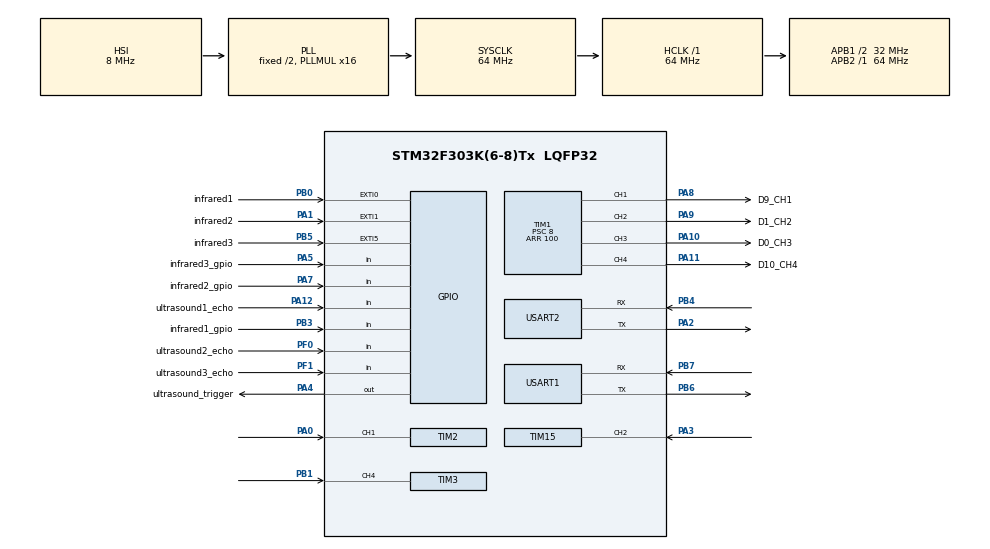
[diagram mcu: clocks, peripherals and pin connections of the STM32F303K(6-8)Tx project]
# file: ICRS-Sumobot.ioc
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Mcu.Family=STM32F3
Mcu.Name=STM32F303K(6-8)Tx
Mcu.Package=LQFP32
NVIC.EXTI0_IRQn=true\:2\:0\:true\:false\:true\:true\:true
NVIC.EXTI1_IRQn=true\:2\:0\:true\:false\:true\:true\:true
NVIC.EXTI9_5_IRQn=true\:2\:0\:true\:false\:true\:true\:true
NVIC.PriorityGroup=NVIC_PRIORITYGROUP_4
NVIC.TIM1_BRK_TIM15_IRQn=true\:0\:0\:true\:false\:true\:true\:true
NVIC.TIM2_IRQn=true\:0\:0\:true\:false\:true\:true\:true
NVIC.TIM3_IRQn=true\:0\:0\:false\:false\:true\:true\:true
PA0.Signal=S_TIM2_CH1_ETR
PA1.GPIO_Label=infrared2
PA1.GPIO_ModeDefaultEXTI=GPIO_MODE_IT_FALLING
PA1.Signal=GPXTI1
PA10.GPIO_Label=D0_CH3
PA10.Signal=S_TIM1_CH3
PA11.GPIO_Label=D10_CH4
PA11.Signal=S_TIM1_CH4
PA12.GPIO_Label=ultrasound1_echo
PA12.Signal=GPIO_Input
PA13.Signal=SYS_JTMS-SWDIO
PA14.Signal=SYS_JTCK-SWCLK
PA15.Signal=SYS_JTDI
PA2.Mode=Asynchronous
PA2.Signal=USART2_TX
PA3.Signal=S_TIM15_CH2
PA4.GPIO_Label=ultrasound_trigger
PA4.Signal=GPIO_Output
PA5.GPIO_Label=infrared3_gpio
PA5.Signal=GPIO_Input
PA7.GPIO_Label=infrared2_gpio
PA7.Signal=GPIO_Input
PA8.GPIO_Label=D9_CH1
PA8.Signal=S_TIM1_CH1
PA9.GPIO_Label=D1_CH2
PA9.Signal=S_TIM1_CH2
PB0.GPIO_Label=infrared1
PB0.GPIO_ModeDefaultEXTI=GPIO_MODE_IT_FALLING
PB0.Signal=GPXTI0
PB1.Signal=S_TIM3_CH4
PB3.GPIO_Label=infrared1_gpio
PB3.Signal=GPIO_Input
PB4.Mode=Asynchronous
PB4.Signal=USART2_RX
PB5.GPIO_Label=infrared3
PB5.Signal=GPXTI5
PB6.Mode=Asynchronous
PB6.Signal=USART1_TX
PB7.Mode=Asynchronous
PB7.Signal=USART1_RX
PF0\ /\ OSC_IN.GPIO_Label=ultrasound2_echo
PF0\ /\ OSC_IN.Signal=GPIO_Input
PF1\ /\ OSC_OUT.GPIO_Label=ultrasound3_echo
PF1\ /\ OSC_OUT.Signal=GPIO_Input
ProjectManager.HeapSize=0x200
ProjectManager.StackSize=0x400
ProjectManager.TargetToolchain=SW4STM32
RCC.AHBFreq_Value=64000000
RCC.APB1CLKDivider=RCC_HCLK_DIV2
RCC.APB1Freq_Value=32000000
RCC.APB1TimFreq_Value=64000000
RCC.APB2Freq_Value=64000000
RCC.APB2TimFreq_Value=64000000
RCC.CortexFreq_Value=64000000
RCC.HCLKFreq_Value=64000000
RCC.HSE_VALUE=8000000
RCC.HSI_VALUE=8000000
RCC.PLLMUL=RCC_PLL_MUL16
RCC.SYSCLKFreq_VALUE=64000000
RCC.SYSCLKSourceVirtual=RCC_SYSCLKSOURCE_PLLCLK
SH.S_TIM15_CH2.0=TIM15_CH2,Input_Capture2_from_TI2
SH.S_TIM1_CH1.0=TIM1_CH1,PWM Generation1 CH1
SH.S_TIM1_CH2.0=TIM1_CH2,PWM Generation2 CH2
SH.S_TIM1_CH3.0=TIM1_CH3,PWM Generation3 CH3
SH.S_TIM1_CH4.0=TIM1_CH4,PWM Generation4 CH4
SH.S_TIM2_CH1_ETR.0=TIM2_CH1,Input_Capture1_from_TI1
SH.S_TIM3_CH4.0=TIM3_CH4,Input_Capture4_from_TI4
TIM1.Channel-PWM\ Generation1\ CH1=TIM_CHANNEL_1
TIM1.Channel-PWM\ Generation2\ CH2=TIM_CHANNEL_2
TIM1.Channel-PWM\ Generation3\ CH3=TIM_CHANNEL_3
TIM1.Channel-PWM\ Generation4\ CH4=TIM_CHANNEL_4
TIM1.Period=100
TIM1.Prescaler=8
TIM15.Channel-Input_Capture2_from_TI2=TIM_CHANNEL_2
TIM15.Period=0xffff-1
TIM15.Prescaler=72-1
TIM2.Channel-Input_Capture1_from_TI1=TIM_CHANNEL_1
TIM2.Period=0xffff-1
TIM2.Prescaler=72-1
TIM3.Channel-Input_Capture4_from_TI4=TIM_CHANNEL_4
TIM3.Period=0xffff -1
TIM3.Prescaler=72-1
USART1.VirtualMode-Asynchronous=VM_ASYNC
USART2.VirtualMode-Asynchronous=VM_ASYNC
VP_TIM1_VS_ClockSourceINT.Mode=Internal
board=custom

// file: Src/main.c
/* USER CODE BEGIN Header */
/**
  ******************************************************************************
  * @file           : main.c
  * @brief          : Main program body
  ******************************************************************************
  * @attention
  *
  * <h2><center>&copy; Copyright (c) 2019 STMicroelectronics.
  * All rights reserved.</center></h2>
  *
  * This software component is licensed by ST under BSD 3-Clause license,
  * the "License"; You may not use this file except in compliance with the
  * License. You may obtain a copy of the License at:
  *                        opensource.org/licenses/BSD-3-Clause
  *
  ******************************************************************************
  */
/* USER CODE END Header */

#include "main.h"
#include "tim.h"
#include "usart.h"
#include "gpio.h"

/* USER CODE BEGIN Includes */
#include <stdio.h>
#include "distance.h"
#include "motor.h"
#include "init_tests.h"
#include "UARTlink.h"
#include "remoteControl.h"

/* USER CODE END Includes */

/* USER CODE BEGIN PV */
// Variables used in remote control
int TESTING_MODE = 0;
/* USER CODE END PV */

void SystemClock_Config(void);
/* USER CODE BEGIN PFP */
void HAL_TIM_IC_CaptureCallback(TIM_HandleTypeDef *htim);

void isFilterMode();

void torqueCheck();
/* USER CODE END PFP */

/* USER CODE BEGIN 0 */
int INITIAL_MOVEMENT = 0;
uint8_t data[14];
uint8_t request[1] = {'0'};
int32_t power;
int16_t heading;
int16_t deltaX;
int16_t deltaY;
int16_t tof1;
int16_t tof2;
/* USER CODE END 0 */

int main(void)
{

  /* MCU Configuration--------------------------------------------------------*/

  /* Reset of all peripherals, Initializes the Flash interface and the Systick. */
  HAL_Init();

  /* Configure the system clock */
  SystemClock_Config();

  /* Initialize all configured peripherals */
  MX_GPIO_Init();
  MX_TIM1_Init();
  MX_USART2_UART_Init();
  MX_TIM2_Init();
  MX_TIM3_Init();
  MX_TIM15_Init();
  MX_USART1_UART_Init();
  /* USER CODE BEGIN 2 */
    DWT_Init();
    pwm_init();
    remoteControl_init();

    if (TESTING_MODE) {
        __set_BASEPRI(2 << 4); // Disables all interrupts with priority 2 or lower
        printf("ENTERING TESTING MODE\n\n");
        run_tests();
        __set_BASEPRI(5 << 4); // Re-enables IR interrupts
        HAL_Delay(2000);
    }

  /* USER CODE END 2 */

  /* Infinite loop */
  /* USER CODE BEGIN WHILE */
    while (1) {
        // TEST STUFF
        printf("Hi\n");
        pollUART(&huart1, data);
        parsePacket(data, &power, &heading, &deltaX, &deltaY, &tof1, &tof2);
        for (int i = 0; i < 14; i++) {
            printf("%d ", data[i]);
        }
        printf("\n");
        printf("time of flight 1 is %d\n", tof1);
        printf("time of flight 2 is %d\n", tof2);
        HAL_Delay(500);

        // TEST STUFF END

        // Controller turned off at start
        // By default, this will only be entered once, at the start
        __set_BASEPRI(2 << 4);
        while (get_RIGHT_KNOB() == 0) {
            moveTank(0, 0);
            HAL_Delay(500);
            printf("Controller is off!\n");
        }

        // Waiting mode
        while (get_RIGHT_KNOB() > (RIGHT_KNOB_MIN + 100) &&
               get_RIGHT_KNOB() < (RIGHT_KNOB_MAX - 100)) {
            check_right_knob_online();
            INITIAL_MOVEMENT = 0;
            moveTank(0, 0);
            HAL_Delay(500);
            printf("Waiting to start...\n");
        }

        // Control mode
        while (get_RIGHT_KNOB() > RIGHT_KNOB_MAX - 100) {
            check_right_knob_online();

            int right_toggle = (int) get_RIGHT_TOGGLE();
            int left_toggle = (int) get_LEFT_TOGGLE();
            printf("\nControl mode\n");
            printf("Right toggle Diff is %d\n", right_toggle);
            printf("Right Knob Diff is %d\n", (int) get_RIGHT_KNOB());
            printf("Left toggle is %d\n", left_toggle);
            HAL_Delay(5);

            float steering = (float) (right_toggle - RIGHT_TOGGLE_MIN) /
                             (float) (RIGHT_TOGGLE_MAX - RIGHT_TOGGLE_MIN) *
                             200 - 100;
            float speed = (float) (left_toggle - LEFT_TOGGLE_MIN) /
                          (float) (LEFT_TOGGLE_MAX - LEFT_TOGGLE_MIN) * 200 -
                          100;
            printf("steering: %d\n", (int) steering);
            printf("speed: %d\n", (int) speed);
            moveSteering((int) speed, (int) steering);

        }
        __set_BASEPRI(5 << 4);

        // Auto mode
        while (get_RIGHT_KNOB() < RIGHT_KNOB_MIN + 100) {
            printf("Automode\n");

            if (!INITIAL_MOVEMENT) {
                moveTank(-60, -100);
                HAL_Delay(400);
                INITIAL_MOVEMENT = 1;
                moveTank(0, 0);
                HAL_Delay(2000);
            }

//            int dist1 = getDistance(1);
//            int dist2 = getDistance(2);
//            int dist3 = getDistance(3);
//            int dist4 = getDistance(4);
//
//            printf("dist1: %03d\n", dist1);
//            printf("dist2: %03d\n", dist2);
//            printf("dist3: %03d\n", dist3);
//            printf("dist4: %03d\n", dist4);

            pollUART(&huart1, data);
            parsePacket(data, &power, &heading, &deltaX, &deltaY, &tof1, &tof2);

            struct us_sensor us1 = getClosestEnemies();
            int enemyLocation = us1.name;
            float distance = us1.distance;

            printf("name: %d\n", enemyLocation);
            printf("dist: %d\n", (int) distance);

            switch (enemyLocation) {
                case 1:
                    moveTank(100, 100);
                    break;
                case 2:
                    moveTank(60, -60);
                    break;
                case 3:
                    moveTank(-60, 60);
                    break;
                case 4:
                    moveTank(80, 100);
                    break;
                case 5:
                    moveTank(100, 80);
                    break;
            }

            HAL_Delay(500);
        }
    }
    /* USER CODE END WHILE */

}

void SystemClock_Config(void)
{
  RCC_OscInitTypeDef RCC_OscInitStruct = {0};
  RCC_ClkInitTypeDef RCC_ClkInitStruct = {0};
  RCC_PeriphCLKInitTypeDef PeriphClkInit = {0};

  /** Initializes the CPU, AHB and APB busses clocks
  */
  RCC_OscInitStruct.OscillatorType = RCC_OSCILLATORTYPE_HSI;
  RCC_OscInitStruct.HSIState = RCC_HSI_ON;
  RCC_OscInitStruct.HSICalibrationValue = RCC_HSICALIBRATION_DEFAULT;
  RCC_OscInitStruct.PLL.PLLState = RCC_PLL_ON;
  RCC_OscInitStruct.PLL.PLLSource = RCC_PLLSOURCE_HSI;
  RCC_OscInitStruct.PLL.PLLMUL = RCC_PLL_MUL16;
  if (HAL_RCC_OscConfig(&RCC_OscInitStruct) != HAL_OK)
  {
    Error_Handler();
  }
  /** Initializes the CPU, AHB and APB busses clocks
  */
  RCC_ClkInitStruct.ClockType = RCC_CLOCKTYPE_HCLK|RCC_CLOCKTYPE_SYSCLK
                              |RCC_CLOCKTYPE_PCLK1|RCC_CLOCKTYPE_PCLK2;
  RCC_ClkInitStruct.SYSCLKSource = RCC_SYSCLKSOURCE_PLLCLK;
  RCC_ClkInitStruct.AHBCLKDivider = RCC_SYSCLK_DIV1;
  RCC_ClkInitStruct.APB1CLKDivider = RCC_HCLK_DIV2;
  RCC_ClkInitStruct.APB2CLKDivider = RCC_HCLK_DIV1;

  if (HAL_RCC_ClockConfig(&RCC_ClkInitStruct, FLASH_LATENCY_2) != HAL_OK)
  {
    Error_Handler();
  }
  PeriphClkInit.PeriphClockSelection = RCC_PERIPHCLK_USART1|RCC_PERIPHCLK_TIM1;
  PeriphClkInit.Usart1ClockSelection = RCC_USART1CLKSOURCE_PCLK1;
  PeriphClkInit.Tim1ClockSelection = RCC_TIM1CLK_HCLK;
  if (HAL_RCCEx_PeriphCLKConfig(&PeriphClkInit) != HAL_OK)
  {
    Error_Handler();
  }
}

/* USER CODE BEGIN 4 */
int getTOF1() {
    return (int) ((float) tof1 / 10);
}

int getTOF2() {
    return (int) ((float) tof2 / 10);
}

int getPower() {
    return power;
}

int getHead() {
    return heading;
}

int getDeltaX() {
    return deltaX;
}

int getDeltaY() {
    return deltaY;
}
/* USER CODE END 4 */

void Error_Handler(void)
{
}

/************************ (C) COPYRIGHT STMicroelectronics *****END OF FILE****/
